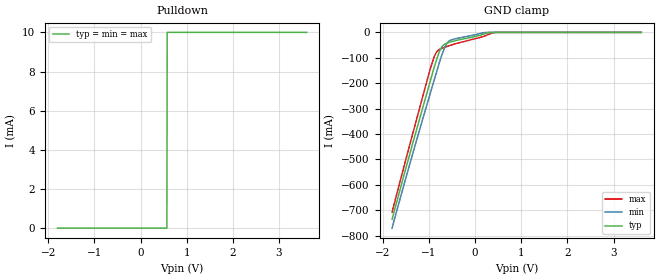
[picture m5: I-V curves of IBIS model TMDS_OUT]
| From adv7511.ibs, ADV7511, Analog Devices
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[Model] TMDS_OUT
Model_type   Open_drain
Polarity   Non-Inverting
Vmeas=3.3
Vref=3.3
Rref=50
C_comp   3pF  3pF   3pF
[Voltage Range]  3.3   2.7   3.6
[Temperature Range]  25  -40   85
[Ramp]
dV/dt_r   312m/100p  NA   NA
dV/dt_f   372m/120p   NA   NA
[GND_Clamp]
|V   I(typ)   I(min)   I(max)
-1.8V     -736mA     -771mA     -708mA
-1.152V   -307mA     -351mA     -263mA
-990mV    -203mA     -251mA     -155mA
-882mV    -134mA     -184mA     -93mA
-828mV    -103mA     -151mA     -75mA
-774mV    -75mA      -118mA     -67mA
-720mV    -56mA      -88mA      -63mA
-612mV    -43mA      -43mA      -56mA
-558mV    -39mA      -33mA      -52mA
198mV     -6mA       -1mA       -15mA
468mV     0A         0A         0A
3.6V      0A         0A         0A
[Pulldown]
|V   I(typ)   I(min)   I(max)
-1.8V     0A         0A         0A
570mV     0A         0A         0A
576mV     10mA       10mA       10mA
3.6V      10mA       10mA       10mA
